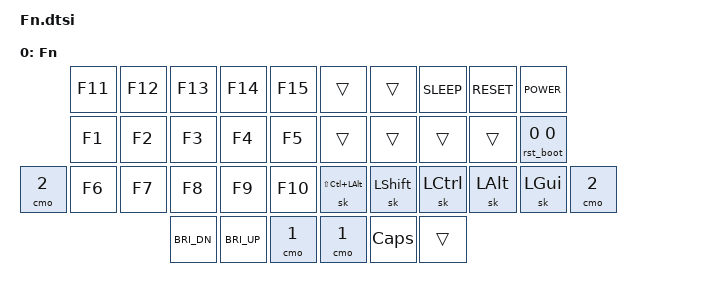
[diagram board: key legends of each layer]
/**
 * Function / System Layer
 */

/ {
    keymap {
        compatible = "zmk,keymap";
  
        fn_layer {
            display-name = "Fn";
            bindings = <
//                 ╭───────────────┬───────────────┬───────────────┬───────────────┬───────────────╮   ╭───────────────┬───────────────┬───────────────┬───────────────┬───────────────╮
//                 │0              │1              │2              │3              │4              │   │5              │6              │7              │8              │9              │
                    &kp F11         &kp F12         &kp F13         &kp F14         &kp F15             &trans          &trans          &kp C_SLEEP     &kp C_RESET     &kp C_POWER
//                 ├───────────────┼───────────────┼───────────────┼───────────────┼───────────────┤   ├───────────────├───────────────┼───────────────┼───────────────┼───────────────┤
//                 │10             │11             │12             │13             │14             │   │15             │16             │17             │18             │19             │
                    &kp F1          &kp F2          &kp F3          &kp F4          &kp F5              &trans          &trans          &trans          &trans          &rst_boot 0 0
// ╭───────────────┬───────────────┼───────────────┼───────────────┼───────────────┼───────────────┤   ├───────────────├───────────────┼───────────────┼───────────────┼───────────────┬───────────────╮
//  20             │21             │22             │23             │24             │25             │   │26             │27             │28             │29             │30             │31             │
    &cmo 2          &kp F6          &kp F7          &kp F8          &kp F9          &kp F10             &sk LS(LC(LALT)) &sk LSHFT      &sk LCTRL       &sk LALT        &sk LGUI        &cmo 2
// ╰───────────────┴───────────────┴───────────────┼───────────────┼───────────────┼───────────────┤   ├───────────────├───────────────┼───────────────┼───────────────┴───────────────┴───────────────╯
//                                                 │32             │33             │34             │   │35             │36             │37             │
                                                    &kp C_BRI_DN    &kp C_BRI_UP    &cmo 1              &cmo 1          &kp CAPSLOCK    &trans
//                                                 ╰───────────────┴───────────────┴───────────────╯   ╰───────────────┴───────────────┴───────────────╯
            >;
		};
	};
};
